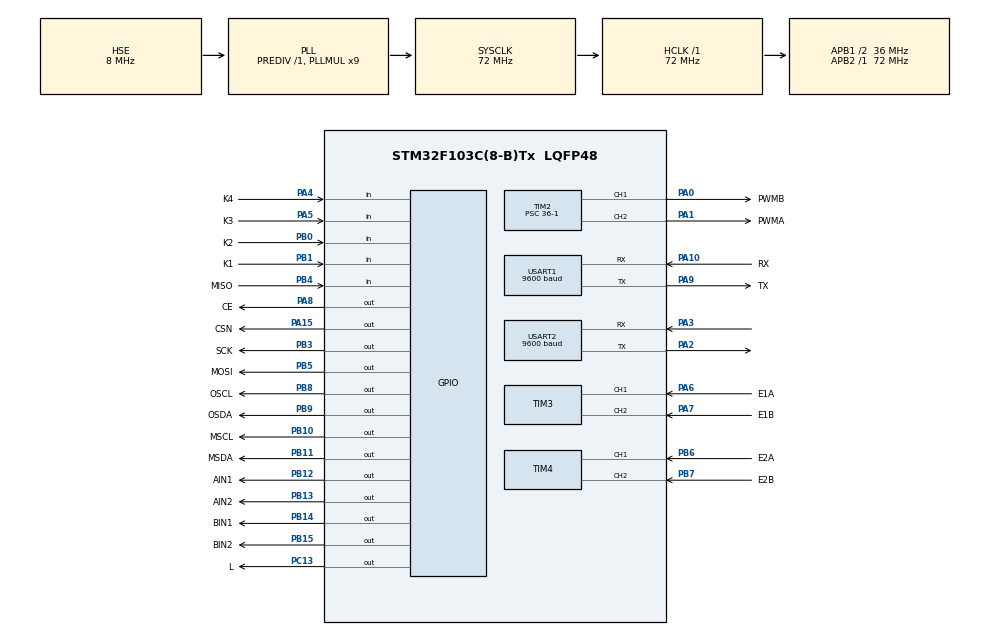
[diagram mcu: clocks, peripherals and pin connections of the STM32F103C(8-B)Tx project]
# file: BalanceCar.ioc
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Mcu.Family=STM32F1
Mcu.Name=STM32F103C(8-B)Tx
Mcu.Package=LQFP48
NVIC.PriorityGroup=NVIC_PRIORITYGROUP_4
NVIC.TIM1_UP_IRQn=true\:0\:0\:false\:false\:true\:true\:true\:true
NVIC.USART1_IRQn=true\:0\:0\:false\:false\:true\:true\:true\:true
NVIC.USART2_IRQn=true\:0\:0\:false\:false\:true\:true\:true\:true
PA0-WKUP.GPIO_Label=PWMB
PA0-WKUP.Signal=S_TIM2_CH1_ETR
PA1.GPIO_Label=PWMA
PA1.Signal=S_TIM2_CH2
PA10.GPIO_Label=RX
PA10.Mode=Asynchronous
PA10.Signal=USART1_RX
PA13.Mode=Serial_Wire
PA13.Signal=SYS_JTMS-SWDIO
PA14.Mode=Serial_Wire
PA14.Signal=SYS_JTCK-SWCLK
PA15.GPIO_Label=CSN
PA15.Signal=GPIO_Output
PA2.Mode=Asynchronous
PA2.Signal=USART2_TX
PA3.Mode=Asynchronous
PA3.Signal=USART2_RX
PA4.GPIO_Label=K4
PA4.GPIO_PuPd=GPIO_PULLUP
PA4.Signal=GPIO_Input
PA5.GPIO_Label=K3
PA5.GPIO_PuPd=GPIO_PULLUP
PA5.Signal=GPIO_Input
PA6.GPIO_Label=E1A
PA6.Signal=S_TIM3_CH1
PA7.GPIO_Label=E1B
PA7.Signal=S_TIM3_CH2
PA8.GPIO_Label=CE
PA8.Signal=GPIO_Output
PA9.GPIO_Label=TX
PA9.Mode=Asynchronous
PA9.Signal=USART1_TX
PB0.GPIO_Label=K2
PB0.GPIO_PuPd=GPIO_PULLUP
PB0.Signal=GPIO_Input
PB1.GPIO_Label=K1
PB1.GPIO_PuPd=GPIO_PULLUP
PB1.Signal=GPIO_Input
PB10.GPIO_Label=MSCL
PB10.Signal=GPIO_Output
PB11.GPIO_Label=MSDA
PB11.Signal=GPIO_Output
PB12.GPIO_Label=AIN1
PB12.Signal=GPIO_Output
PB13.GPIO_Label=AIN2
PB13.Signal=GPIO_Output
PB14.GPIO_Label=BIN1
PB14.Signal=GPIO_Output
PB15.GPIO_Label=BIN2
PB15.Signal=GPIO_Output
PB3.GPIO_Label=SCK
PB3.Signal=GPIO_Output
PB4.GPIO_Label=MISO
PB4.GPIO_PuPd=GPIO_PULLUP
PB4.Signal=GPIO_Input
PB5.GPIO_Label=MOSI
PB5.Signal=GPIO_Output
PB6.GPIO_Label=E2A
PB6.Signal=S_TIM4_CH1
PB7.GPIO_Label=E2B
PB7.Signal=S_TIM4_CH2
PB8.GPIO_Label=OSCL
PB8.Signal=GPIO_Output
PB9.GPIO_Label=OSDA
PB9.Signal=GPIO_Output
PC13-TAMPER-RTC.GPIO_Label=L
PC13-TAMPER-RTC.PinState=GPIO_PIN_SET
PC13-TAMPER-RTC.Signal=GPIO_Output
PD0-OSC_IN.Mode=HSE-External-Oscillator
PD0-OSC_IN.Signal=RCC_OSC_IN
PD1-OSC_OUT.Mode=HSE-External-Oscillator
PD1-OSC_OUT.Signal=RCC_OSC_OUT
ProjectManager.HeapSize=0x200
ProjectManager.StackSize=0x400
ProjectManager.TargetToolchain=CMake
RCC.AHBFreq_Value=72000000
RCC.APB1CLKDivider=RCC_HCLK_DIV2
RCC.APB1Freq_Value=36000000
RCC.APB1TimFreq_Value=72000000
RCC.APB2Freq_Value=72000000
RCC.APB2TimFreq_Value=72000000
RCC.HCLKFreq_Value=72000000
RCC.PLLMUL=RCC_PLL_MUL9
RCC.PLLSourceVirtual=RCC_PLLSOURCE_HSE
RCC.SYSCLKFreq_VALUE=72000000
RCC.SYSCLKSource=RCC_SYSCLKSOURCE_PLLCLK
RCC.USBFreq_Value=72000000
SH.S_TIM2_CH1_ETR.0=TIM2_CH1,PWM Generation1 CH1
SH.S_TIM2_CH2.0=TIM2_CH2,PWM Generation2 CH2
SH.S_TIM3_CH1.0=TIM3_CH1,Encoder_Interface
SH.S_TIM3_CH2.0=TIM3_CH2,Encoder_Interface
SH.S_TIM4_CH1.0=TIM4_CH1,Encoder_Interface
SH.S_TIM4_CH2.0=TIM4_CH2,Encoder_Interface
TIM1.Period=1000-1
TIM1.Prescaler=72-1
TIM2.AutoReloadPreload=TIM_AUTORELOAD_PRELOAD_ENABLE
TIM2.Channel-PWM\ Generation1\ CH1=TIM_CHANNEL_1
TIM2.Channel-PWM\ Generation2\ CH2=TIM_CHANNEL_2
TIM2.Period=100-1
TIM2.Prescaler=36-1
TIM3.EncoderMode=TIM_ENCODERMODE_TI12
TIM3.IC1Filter=15
TIM3.IC2Filter=15
TIM4.EncoderMode=TIM_ENCODERMODE_TI12
TIM4.IC1Filter=15
TIM4.IC2Filter=15
USART1.BaudRate=9600
USART1.VirtualMode=VM_ASYNC
USART2.BaudRate=9600
USART2.VirtualMode=VM_ASYNC
VP_TIM1_VS_ClockSourceINT.Mode=Internal
VP_TIM2_VS_ClockSourceINT.Mode=Internal
board=custom

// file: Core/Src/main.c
/* USER CODE BEGIN Header */
/**
  ******************************************************************************
  * @file           : main.c
  * @brief          : Main program body
  ******************************************************************************
  * @attention
  *
  * Copyright (c) 2026 STMicroelectronics.
  * All rights reserved.
  *
  * This software is licensed under terms that can be found in the LICENSE file
  * in the root directory of this software component.
  * If no LICENSE file comes with this software, it is provided AS-IS.
  *
  ******************************************************************************
  */
/* USER CODE END Header */
#include "main.h"
#include "tim.h"
#include "usart.h"
#include "gpio.h"

/* USER CODE BEGIN Includes */
#include "blueserial.h"
#include "encoder.h"
#include "iic.h"
#include "key.h"
#include "led.h"
#include "motor.h"
#include "mpu6050.h"
#include "OLED.h"
#include "pwm.h"
#include "pid.h"
#include <stdint.h>
/* USER CODE END Includes */

/* USER CODE BEGIN PV */
Pid_t AnglePID, SpeedPID, TurnPID;
int16_t AX, AY, AZ, GX, GY, GZ;
int16_t LeftPWM, RightPWM;
int16_t AvePWM, DiffPWM;
uint8_t Runflag = 1;
float AngleAcc, AngleGyro, Angle;
float LeftSpeed, RightSpeed;
float AveSpeed, DiffSpeed;
float TargetSpeed, TargetTurn;

/* USER CODE END PV */

void SystemClock_Config(void);

int main(void)
{

  /* MCU Configuration--------------------------------------------------------*/

  /* Reset of all peripherals, Initializes the Flash interface and the Systick. */
  HAL_Init();

  /* USER CODE BEGIN Init */
  encoder_init();
  HAL_TIM_Base_Start_IT(&htim1);
  HAL_TIM_Base_Start_IT(&htim2);
  HAL_TIM_Base_Start_IT(&htim3);
  HAL_TIM_Base_Start_IT(&htim4);
  /* USER CODE END Init */

  /* Configure the system clock */
  SystemClock_Config();

  /* Initialize all configured peripherals */
  MX_GPIO_Init();
  MX_TIM1_Init();
  MX_TIM2_Init();
  MX_TIM3_Init();
  MX_TIM4_Init();
  MX_USART1_UART_Init();
  MX_USART2_UART_Init();
  /* USER CODE BEGIN 2 */
  uint8_t key_num;
  /* USER CODE END 2 */

  /* Infinite loop */
  /* USER CODE BEGIN WHILE */
  while (1)
  {
    if (Runflag) led_on();
    else led_off();

    key_num = key_getnum();
    if (key_num == 1) Runflag = !Runflag;

    OLED_Clear();
		OLED_Printf(0, 0, OLED_6X8, " Angle");
		OLED_Printf(0, 8, OLED_6X8, " P:%05.2f", AnglePID.kp);
		OLED_Printf(0, 16, OLED_6X8, " I:%05.2f", AnglePID.ki);
		OLED_Printf(0, 24, OLED_6X8, " D:%05.2f", AnglePID.kd);
		OLED_Printf(0, 32, OLED_6X8, " T:%05.1f", AnglePID.setpoint); //T is for Target, but in this case it's always 0, so it can be omitted if desired.
		OLED_Printf(0, 40, OLED_6X8, " A:%05.1f", Angle);
		OLED_Printf(0, 48, OLED_6X8, " O:%05.0f", AnglePID.output);

		OLED_Printf(50, 0, OLED_6X8, "Speed");
		OLED_Printf(50, 8, OLED_6X8, " %05.2f", SpeedPID.kp);
		OLED_Printf(50, 16, OLED_6X8, " %05.2f", SpeedPID.ki);
		OLED_Printf(50, 24, OLED_6X8, " %05.2f", SpeedPID.kd);
		OLED_Printf(50, 32, OLED_6X8, " %05.1f", SpeedPID.setpoint);
		OLED_Printf(50, 40, OLED_6X8, " %05.1f", AveSpeed);
		OLED_Printf(50, 48, OLED_6X8, " %05.0f", SpeedPID.output);

		OLED_Printf(88, 0, OLED_6X8, "Turn");
		OLED_Printf(88, 8, OLED_6X8, " %05.2f", TurnPID.kp);
		OLED_Printf(88, 16, OLED_6X8, " %05.2f", TurnPID.ki);
		OLED_Printf(88, 24, OLED_6X8, " %05.2f", TurnPID.kd);
		OLED_Printf(88, 32, OLED_6X8, " %05.1f", TurnPID.setpoint);
		OLED_Printf(88, 40, OLED_6X8, " %05.1f", DiffSpeed);
		OLED_Printf(88, 48, OLED_6X8, " %05.0f", TurnPID.output);
		OLED_Update();
    /* USER CODE END WHILE */

    /* USER CODE BEGIN 3 */
    if (BlueSerial_RxFlag == 1){
			char *Tag = strtok(BlueSerial_RxPacket, ",");
			if (strcmp(Tag, "key") == 0){
				char *Name = strtok(NULL, ",");
				char *Action = strtok(NULL, ",");
			}
			else if (strcmp(Tag, "slider") == 0){
				char *Name = strtok(NULL, ",");
				char *Value = strtok(NULL, ",");

				if (strcmp(Name, "AngleKp") == 0){
					AnglePID.kp = atof(Value);
				}
				else if (strcmp(Name, "AngleKi") == 0){
					AnglePID.ki = atof(Value);
				}
				else if (strcmp(Name, "AngleKd") == 0){
					AnglePID.kd = atof(Value);
				}

				else if (strcmp(Name, "SpeedKp") == 0){
					SpeedPID.kp = atof(Value);
				}
				else if (strcmp(Name, "SpeedKi") == 0){
					SpeedPID.ki = atof(Value);
				}
				else if (strcmp(Name, "SpeedKd") == 0){
					SpeedPID.kd = atof(Value);
				}

				else if (strcmp(Name, "TurnKp") == 0){
					TurnPID.kp = atof(Value);
				}
				else if (strcmp(Name, "TurnKi") == 0){
					TurnPID.ki = atof(Value);
				}
				else if (strcmp(Name, "TurnKd") == 0){
					TurnPID.kd = atof(Value);
				}
			}
			else if (strcmp(Tag, "joystick") == 0){
				int8_t LH = atoi(strtok(NULL, ","));
				int8_t LV = atoi(strtok(NULL, ","));
				int8_t RH = atoi(strtok(NULL, ","));
				int8_t RV = atoi(strtok(NULL, ","));

				SpeedTarget = (float)LV / 25.0f;
				// SpeedPID->setpoint = (float)LV / 25.0f;
				TurnTarget = (float)RH / 25.0f;
			}

			BlueSerial_RxFlag = 0;
		}

		BlueSerial_Printf("[plot,%f,%f,%f]", AngleAcc, AngleGyro, Angle);
  }
  /* USER CODE END 3 */
}

void SystemClock_Config(void)
{
  RCC_OscInitTypeDef RCC_OscInitStruct = {0};
  RCC_ClkInitTypeDef RCC_ClkInitStruct = {0};

  /** Initializes the RCC Oscillators according to the specified parameters
  * in the RCC_OscInitTypeDef structure.
  */
  RCC_OscInitStruct.OscillatorType = RCC_OSCILLATORTYPE_HSE;
  RCC_OscInitStruct.HSEState = RCC_HSE_ON;
  RCC_OscInitStruct.HSEPredivValue = RCC_HSE_PREDIV_DIV1;
  RCC_OscInitStruct.HSIState = RCC_HSI_ON;
  RCC_OscInitStruct.PLL.PLLState = RCC_PLL_ON;
  RCC_OscInitStruct.PLL.PLLSource = RCC_PLLSOURCE_HSE;
  RCC_OscInitStruct.PLL.PLLMUL = RCC_PLL_MUL9;
  if (HAL_RCC_OscConfig(&RCC_OscInitStruct) != HAL_OK)
  {
    Error_Handler();
  }

  /** Initializes the CPU, AHB and APB buses clocks
  */
  RCC_ClkInitStruct.ClockType = RCC_CLOCKTYPE_HCLK|RCC_CLOCKTYPE_SYSCLK
                              |RCC_CLOCKTYPE_PCLK1|RCC_CLOCKTYPE_PCLK2;
  RCC_ClkInitStruct.SYSCLKSource = RCC_SYSCLKSOURCE_PLLCLK;
  RCC_ClkInitStruct.AHBCLKDivider = RCC_SYSCLK_DIV1;
  RCC_ClkInitStruct.APB1CLKDivider = RCC_HCLK_DIV2;
  RCC_ClkInitStruct.APB2CLKDivider = RCC_HCLK_DIV1;

  if (HAL_RCC_ClockConfig(&RCC_ClkInitStruct, FLASH_LATENCY_2) != HAL_OK)
  {
    Error_Handler();
  }
}

/* USER CODE BEGIN 4 */
void HAL_TIM_PeriodElapsedCallback(TIM_HandleTypeDef *htim){ // 1ms
  static uint32_t cnt1 = 0, cnt2 = 0;
    if (htim->Instance == TIM1) {
      key_tick();

      if (++cnt1 >= 10){
        cnt1 = 0;
        mpu6050_getdata(&AX, &AY, &AZ, &GX, &GY, &GZ);
        GY -= 16;

        float alpha = 0.99;
        AngleAcc = atan2f(AY, AZ) * 180 / 3.1415926 - 0.1;
        AngleGyro += GY/32768.0 * 2000 * 0.01; //陀螺仪角度增量
        Angle = alpha * AngleGyro + (1 - alpha) * AngleAcc;
        if (Angle > 60 || Angle < -60) Runflag = 0;

        if (Runflag){
          AvePWM = pid_calc(AnglePID, AnglePID.setpoint, Angle);

          LeftPWM = AvePWM + DiffPWM / 2;
          RightPWM = AvePWM - DiffPWM / 2;
          if (LeftPWM > 100) LeftPWM = 100; if (LeftPWM < -100) LeftPWM = -100;
          if (RightPWM > 100) RightPWM = 100; if (RightPWM < -100) RightPWM = -100;

          motor_setPWM(1, LeftPWM);
          motor_setPWM(2, RightPWM);
        }
        else {
          motor_setPWM(1, 0);
          motor_setPWM(2, 0);
          pid_reset(&AnglePID);
          pid_reset(&SpeedPID);
          pid_reset(&TurnPID);
          AvePWM = DiffPWM = LeftPWM = RightPWM = 0;
          AveSpeed = DiffSpeed = LeftSpeed = RightSpeed = 0;
          TargetSpeed = TargetTurn = 0;
        }
      }

      if (++cnt2 >= 50){
        cnt2 = 0;
        LeftSpeed = encoder_get(1);
        RightSpeed = encoder_get(2);
        DiffSpeed =
        AveSpeed = (LeftSpeed + RightSpeed) / 2;
        DiffSpeed = LeftSpeed - RightSpeed;

        if (Runflag){
          SpeedPID.setpoint = SpeedTarget;
          AnglePID.setpoint = pid_calc(&SpeedPID, TargetSpeed, DiffSpeed);
          if (AnglePID.setpoint > 15) {AnglePID.setpoint = 15;}
				  if (AnglePID.setpoint < -15) {AnglePID.setpoint = -15;}

          TurnPID.setpoint = TargetTurn;
          DiffPWM = pid_calc(&TurnPID, TargetTurn, DiffSpeed);
        }
      }
    }
}

/* USER CODE END 4 */

void Error_Handler(void)
{
  __disable_irq();
  while (1)
  {
  }
}
